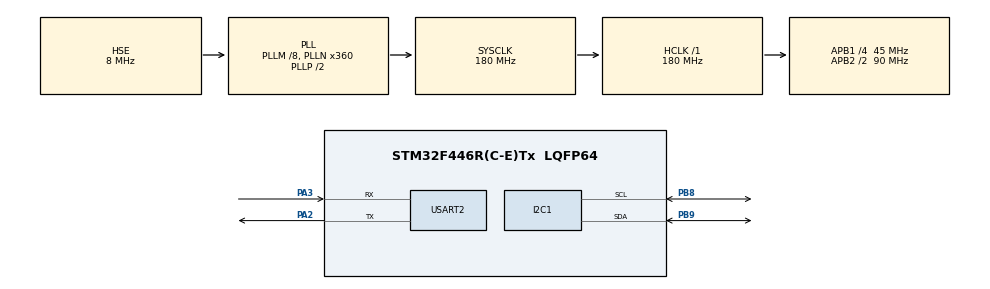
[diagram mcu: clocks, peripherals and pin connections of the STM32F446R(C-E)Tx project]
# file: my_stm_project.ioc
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FREERTOS.Tasks01=imu_task,40,256,StartDefaultTask,Default,NULL,Dynamic,NULL,NULL;gps_task,24,256,StartTask03,Default,NULL,Dynamic,NULL,NULL;bmp_task,24,256,StartTask04,Default,NULL,Dynamic,NULL,NULL;processing_task,16,256,StartTask05,Default,NULL,Dynamic,NULL,NULL;sending_uart,8,256,StartTask06,Default,NULL,Dynamic,NULL,NULL
FREERTOS.configUSE_NEWLIB_REENTRANT=1
I2C1.I2C_Mode=I2C_Fast
Mcu.Family=STM32F4
Mcu.Name=STM32F446R(C-E)Tx
Mcu.Package=LQFP64
NVIC.PriorityGroup=NVIC_PRIORITYGROUP_4
NVIC.TIM6_DAC_IRQn=true\:15\:0\:false\:false\:true\:false\:false\:true\:true
NVIC.TimeBase=TIM6_DAC_IRQn
NVIC.TimeBaseIP=TIM6
PA2.Mode=Asynchronous
PA2.Signal=USART2_TX
PA3.Mode=Asynchronous
PA3.Signal=USART2_RX
PB8.Mode=I2C
PB8.Signal=I2C1_SCL
PB9.Mode=I2C
PB9.Signal=I2C1_SDA
PH0-OSC_IN.Mode=HSE-External-Oscillator
PH0-OSC_IN.Signal=RCC_OSC_IN
PH1-OSC_OUT.Mode=HSE-External-Oscillator
PH1-OSC_OUT.Signal=RCC_OSC_OUT
ProjectManager.HeapSize=0x200
ProjectManager.StackSize=0x400
ProjectManager.TargetToolchain=STM32CubeIDE
RCC.AHBFreq_Value=180000000
RCC.APB1CLKDivider=RCC_HCLK_DIV4
RCC.APB1Freq_Value=45000000
RCC.APB1TimFreq_Value=90000000
RCC.APB2CLKDivider=RCC_HCLK_DIV2
RCC.APB2Freq_Value=90000000
RCC.APB2TimFreq_Value=180000000
RCC.CortexFreq_Value=180000000
RCC.HCLKFreq_Value=180000000
RCC.HSE_VALUE=8000000
RCC.PLLM=8
RCC.PLLN=360
RCC.PLLSourceVirtual=RCC_PLLSOURCE_HSE
RCC.SYSCLKFreq_VALUE=180000000
RCC.SYSCLKSource=RCC_SYSCLKSOURCE_PLLCLK
RCC.USBFreq_Value=180000000
RCC.VCOOutputFreq_Value=360000000
USART2.VirtualMode=VM_ASYNC
VP_FREERTOS_VS_CMSIS_V2.Mode=CMSIS_V2
VP_SYS_VS_tim6.Mode=TIM6
board=custom

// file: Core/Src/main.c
/* USER CODE BEGIN Header */
/**
  ******************************************************************************
  * @file           : main.c
  * @brief          : Main program body
  ******************************************************************************
  * @attention
  *
  * Copyright (c) 2026 STMicroelectronics.
  * All rights reserved.
  *
  * This software is licensed under terms that can be found in the LICENSE file
  * in the root directory of this software component.
  * If no LICENSE file comes with this software, it is provided AS-IS.
  *
  ******************************************************************************
  */
/* USER CODE END Header */
#include "main.h"
#include "cmsis_os.h"

/* USER CODE BEGIN Includes */
#include <stdio.h>
#include <string.h>
#include <math.h>
#include <stdlib.h>
#include "FreeRTOS.h"
#include "task.h"
#include "semphr.h"
/* USER CODE END Includes */

/* USER CODE BEGIN PD */
#define MPU6050_ADDR 0xD0
#define PWR_MGMT_1   0x6B
#define ACCEL_XOUT_H 0x3B
//osMutexId_t i2cMutex;
/* USER CODE END PD */

I2C_HandleTypeDef hi2c1;

UART_HandleTypeDef huart2;

/* Definitions for imu_task */
osThreadId_t imu_taskHandle;
const osThreadAttr_t imu_task_attributes = {
  .name = "imu_task",
  .stack_size = 256 * 4,
  .priority = (osPriority_t) osPriorityHigh,
};
/* Definitions for gps_task */
osThreadId_t gps_taskHandle;
const osThreadAttr_t gps_task_attributes = {
  .name = "gps_task",
  .stack_size = 256 * 4,
  .priority = (osPriority_t) osPriorityNormal,
};
/* Definitions for bmp_task */
osThreadId_t bmp_taskHandle;
const osThreadAttr_t bmp_task_attributes = {
  .name = "bmp_task",
  .stack_size = 256 * 4,
  .priority = (osPriority_t) osPriorityNormal,
};
/* Definitions for processing_task */
osThreadId_t processing_taskHandle;
const osThreadAttr_t processing_task_attributes = {
  .name = "processing_task",
  .stack_size = 256 * 4,
  .priority = (osPriority_t) osPriorityBelowNormal,
};
/* Definitions for sending_uart */
osThreadId_t sending_uartHandle;
const osThreadAttr_t sending_uart_attributes = {
  .name = "sending_uart",
  .stack_size = 256 * 4,
  .priority = (osPriority_t) osPriorityLow,
};

void SystemClock_Config(void);
static void MX_GPIO_Init(void);
static void MX_I2C1_Init(void);
static void MX_USART2_UART_Init(void);
void StartDefaultTask(void *argument);
void StartTask03(void *argument);
void StartTask04(void *argument);
void StartTask05(void *argument);
void StartTask06(void *argument);

/* USER CODE BEGIN 0 */

int16_t Ax, Ay, Az;

float latitude, longitude, speed;

int32_t raw_temp, raw_press;
float temperature, pressure, altitude;

char msg[200];

void MPU6050_Init(void)
{
    uint8_t data = 0x00;
    HAL_I2C_Mem_Write(&hi2c1,
                      MPU6050_ADDR,
                      PWR_MGMT_1,
                      1,
                      &data,
                      1,
                      100);
}

void MPU6050_Read_Accel(int16_t *Ax,
                        int16_t *Ay,
                        int16_t *Az)
{
    uint8_t buffer[6];
    HAL_StatusTypeDef status;
    char msg1[100];
    //while (HAL_I2C_GetState(&hi2c1) != HAL_I2C_STATE_READY);
    //osMutexAcquire(i2cMutex, osWaitForever);
    while(HAL_I2C_GetState(&hi2c1) != HAL_I2C_STATE_READY)
    {
        osDelay(1);
    }
    status =HAL_I2C_Mem_Read(&hi2c1,
                     MPU6050_ADDR,
                     ACCEL_XOUT_H,
                     1,
                     buffer,
                     6,
                     100);
    //osMutexRelease(i2cMutex);
    //osDelay(50);
    if(status != HAL_OK)
    {
    	sprintf(msg1,"%d",status);

		  HAL_UART_Transmit(&huart2,
							(uint8_t*)msg1,
							strlen(msg1),
							HAL_MAX_DELAY);
		  HAL_Delay(200);
    }
	*Ax =(int16_t)(buffer[0] << 8 | buffer[1]);
	*Ay =(int16_t)(buffer[2] << 8 | buffer[3]);
	*Az =(int16_t)(buffer[4] << 8 | buffer[5]);

}

void GPS_Simulate(float *lat, float *lon, float *speed)
{
    static float base_lat = 17.3850;
    static float base_lon = 78.4867;

    float noise_lat = ((rand()%100)-50)/100000.0;
    float noise_lon = ((rand()%100)-50)/100000.0;

    *lat = base_lat + noise_lat;
    *lon = base_lon + noise_lon;

    *speed = 5.0 + (rand()%30)/10.0;
}

void BMP280_Simulate(int32_t *raw_temp,
                     int32_t *raw_press)
{
    *raw_temp = 40000 + (rand()%2000 - 1000);

    *raw_press = 101300 + (rand()%2000 - 1000);
}

void BMP280_Process(int32_t raw_temp,
                    int32_t raw_press,
                    float *temperature,
                    float *pressure)
{
    *temperature = raw_temp / 1000.0;

    *pressure = raw_press / 100.0;
}

float Calculate_Altitude(float pressure)
{
    float sea_level = 1013.25;

    float altitude =  44330 * (1 - pow((pressure/sea_level),0.1903));

    return altitude;
}

void I2C_Bus_Reset(void)
{
    GPIO_InitTypeDef GPIO_InitStruct = {0};

    __HAL_RCC_GPIOB_CLK_ENABLE();

    GPIO_InitStruct.Pin = GPIO_PIN_6 | GPIO_PIN_7;
    GPIO_InitStruct.Mode = GPIO_MODE_OUTPUT_OD;
    GPIO_InitStruct.Pull = GPIO_PULLUP;
    GPIO_InitStruct.Speed = GPIO_SPEED_FREQ_HIGH;

    HAL_GPIO_Init(GPIOB, &GPIO_InitStruct);

    HAL_GPIO_WritePin(GPIOB, GPIO_PIN_6 | GPIO_PIN_7, GPIO_PIN_SET);

    for(int i=0;i<9;i++)
    {
        HAL_GPIO_WritePin(GPIOB, GPIO_PIN_6, GPIO_PIN_RESET);
        HAL_Delay(1);
        HAL_GPIO_WritePin(GPIOB, GPIO_PIN_6, GPIO_PIN_SET);
        HAL_Delay(1);
    }

    HAL_I2C_DeInit(&hi2c1);
    HAL_I2C_Init(&hi2c1);
}
/* USER CODE END 0 */

int main(void)
{

  /* MCU Configuration--------------------------------------------------------*/

  /* Reset of all peripherals, Initializes the Flash interface and the Systick. */
  HAL_Init();

  /* Configure the system clock */
  SystemClock_Config();

  /* Initialize all configured peripherals */
  MX_GPIO_Init();
  MX_I2C1_Init();
  MX_USART2_UART_Init();
  /* USER CODE BEGIN 2 */
  I2C_Bus_Reset();
  HAL_StatusTypeDef ret;

  ret = HAL_I2C_IsDeviceReady(&hi2c1, MPU6050_ADDR, 3, 100);

  if(ret == HAL_OK)
  {
      sprintf(msg,"MPU6050 detected\r\n");
  }
  else
  {
      sprintf(msg,"MPU6050 NOT detected\r\n");
  }

  HAL_UART_Transmit(&huart2,(uint8_t*)msg,strlen(msg),HAL_MAX_DELAY);

  /* USER CODE END 2 */

  /* Init scheduler */
  osKernelInitialize();
  //i2cMutex = osMutexNew(NULL);

  /* Create the thread(s) */
  /* creation of imu_task */
  imu_taskHandle = osThreadNew(StartDefaultTask, NULL, &imu_task_attributes);

  /* creation of gps_task */
  gps_taskHandle = osThreadNew(StartTask03, NULL, &gps_task_attributes);

  /* creation of bmp_task */
  bmp_taskHandle = osThreadNew(StartTask04, NULL, &bmp_task_attributes);

  /* creation of processing_task */
  processing_taskHandle = osThreadNew(StartTask05, NULL, &processing_task_attributes);

  /* creation of sending_uart */
  sending_uartHandle = osThreadNew(StartTask06, NULL, &sending_uart_attributes);

  /* Start scheduler */
  osKernelStart();

  /* We should never get here as control is now taken by the scheduler */

  /* Infinite loop */
  while (1)
  {
  }
}

void SystemClock_Config(void)
{
  RCC_OscInitTypeDef RCC_OscInitStruct = {0};
  RCC_ClkInitTypeDef RCC_ClkInitStruct = {0};

  /** Configure the main internal regulator output voltage
  */
  __HAL_RCC_PWR_CLK_ENABLE();
  __HAL_PWR_VOLTAGESCALING_CONFIG(PWR_REGULATOR_VOLTAGE_SCALE1);

  /** Initializes the RCC Oscillators according to the specified parameters
  * in the RCC_OscInitTypeDef structure.
  */
  RCC_OscInitStruct.OscillatorType = RCC_OSCILLATORTYPE_HSE;
  RCC_OscInitStruct.HSEState = RCC_HSE_ON;
  RCC_OscInitStruct.PLL.PLLState = RCC_PLL_ON;
  RCC_OscInitStruct.PLL.PLLSource = RCC_PLLSOURCE_HSE;
  RCC_OscInitStruct.PLL.PLLM = 8;
  RCC_OscInitStruct.PLL.PLLN = 360;
  RCC_OscInitStruct.PLL.PLLP = RCC_PLLP_DIV2;
  RCC_OscInitStruct.PLL.PLLQ = 2;
  RCC_OscInitStruct.PLL.PLLR = 2;
  if (HAL_RCC_OscConfig(&RCC_OscInitStruct) != HAL_OK)
  {
    Error_Handler();
  }

  /** Activate the Over-Drive mode
  */
  if (HAL_PWREx_EnableOverDrive() != HAL_OK)
  {
    Error_Handler();
  }

  /** Initializes the CPU, AHB and APB buses clocks
  */
  RCC_ClkInitStruct.ClockType = RCC_CLOCKTYPE_HCLK|RCC_CLOCKTYPE_SYSCLK
                              |RCC_CLOCKTYPE_PCLK1|RCC_CLOCKTYPE_PCLK2;
  RCC_ClkInitStruct.SYSCLKSource = RCC_SYSCLKSOURCE_PLLCLK;
  RCC_ClkInitStruct.AHBCLKDivider = RCC_SYSCLK_DIV1;
  RCC_ClkInitStruct.APB1CLKDivider = RCC_HCLK_DIV4;
  RCC_ClkInitStruct.APB2CLKDivider = RCC_HCLK_DIV2;

  if (HAL_RCC_ClockConfig(&RCC_ClkInitStruct, FLASH_LATENCY_5) != HAL_OK)
  {
    Error_Handler();
  }
}

static void MX_I2C1_Init(void)
{

  hi2c1.Instance = I2C1;
  hi2c1.Init.ClockSpeed = 100000;
  hi2c1.Init.DutyCycle = I2C_DUTYCYCLE_2;
  hi2c1.Init.OwnAddress1 = 0;
  hi2c1.Init.AddressingMode = I2C_ADDRESSINGMODE_7BIT;
  hi2c1.Init.DualAddressMode = I2C_DUALADDRESS_DISABLE;
  hi2c1.Init.OwnAddress2 = 0;
  hi2c1.Init.GeneralCallMode = I2C_GENERALCALL_DISABLE;
  hi2c1.Init.NoStretchMode = I2C_NOSTRETCH_DISABLE;
  if (HAL_I2C_Init(&hi2c1) != HAL_OK)
  {
    Error_Handler();
  }

}

static void MX_USART2_UART_Init(void)
{

  huart2.Instance = USART2;
  huart2.Init.BaudRate = 115200;
  huart2.Init.WordLength = UART_WORDLENGTH_8B;
  huart2.Init.StopBits = UART_STOPBITS_1;
  huart2.Init.Parity = UART_PARITY_NONE;
  huart2.Init.Mode = UART_MODE_TX_RX;
  huart2.Init.HwFlowCtl = UART_HWCONTROL_NONE;
  huart2.Init.OverSampling = UART_OVERSAMPLING_16;
  if (HAL_UART_Init(&huart2) != HAL_OK)
  {
    Error_Handler();
  }

}

static void MX_GPIO_Init(void)
{

  /* GPIO Ports Clock Enable */
  __HAL_RCC_GPIOH_CLK_ENABLE();
  __HAL_RCC_GPIOA_CLK_ENABLE();
  __HAL_RCC_GPIOB_CLK_ENABLE();

}

void StartDefaultTask(void *argument)
{
  /* USER CODE BEGIN 5 */
	MPU6050_Init();
	HAL_Delay(100);
  /* Infinite loop */
  for(;;)
  {
	  MPU6050_Read_Accel(&Ax,&Ay,&Az);
	  osDelay(50);
  }
  /* USER CODE END 5 */
}

void StartTask03(void *argument)
{
  /* USER CODE BEGIN StartTask03 */
  /* Infinite loop */
  for(;;)
  {
	  GPS_Simulate(&latitude,&longitude,&speed);

	  osDelay(200);
  }
  /* USER CODE END StartTask03 */
}

void StartTask04(void *argument)
{
  /* USER CODE BEGIN StartTask04 */
  /* Infinite loop */
  for(;;)
  {
	  BMP280_Simulate(&raw_temp,&raw_press);

	  osDelay(100);
  }
  /* USER CODE END StartTask04 */
}

void StartTask05(void *argument)
{
  /* USER CODE BEGIN StartTask05 */
  /* Infinite loop */
  for(;;)
  {
	  BMP280_Process(raw_temp,
	                      raw_press,
	                      &temperature,
	                      &pressure);

	  altitude = Calculate_Altitude(pressure);

	  osDelay(50);
  }
  /* USER CODE END StartTask05 */
}

void StartTask06(void *argument)
{
  /* USER CODE BEGIN StartTask06 */
  /* Infinite loop */
  for(;;)
  {
	  sprintf(msg,
	        "GPS: LAT=%.6f LON=%.6f SPEED=%.2f\r\n"
	        "BMP: TEMP=%.2f PRESS=%.2f ALT=%.2f\r\n"
	        "IMU: Ax=%d Ay=%d Az=%d\r\n\r\n",
	        latitude,
	        longitude,
	        speed,
	        temperature,
	        pressure,
	        altitude,
	        Ax,
	        Ay,
	        Az);

	  HAL_UART_Transmit(&huart2,
					  	(uint8_t*)msg,
					    strlen(msg),
					    HAL_MAX_DELAY);

	  osDelay(1000);
}
  /* USER CODE END StartTask06 */
}

void HAL_TIM_PeriodElapsedCallback(TIM_HandleTypeDef *htim)
{
  if (htim->Instance == TIM6)
  {
    HAL_IncTick();
  }
}

void Error_Handler(void)
{
  __disable_irq();
  while (1)
  {
  }
}
